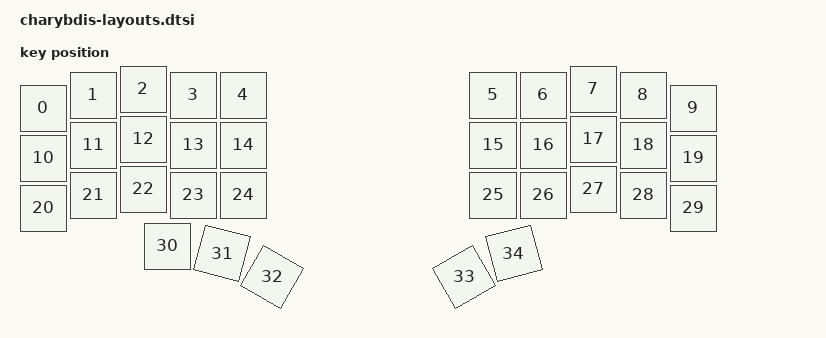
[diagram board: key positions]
#include <physical_layouts.dtsi>

/ {
    charybdis_physical_layout: charybdis_physical_layout {
        compatible = "zmk,physical-layout";
        display-name = "Charybdis 3x5";
        status = "okay";
        kscan = <&kscan0>;
        transform = <&five_column_transform>;

        keys
            // Left Half - Main Keys (cols 1-5, pinky col removed)
            //                       w   h    x    y     rot    rx    ry
            = <&key_physical_attrs 100 100    0   38       0     0     0>
            , <&key_physical_attrs 100 100  100   12       0     0     0>
            , <&key_physical_attrs 100 100  200    0       0     0     0>
            , <&key_physical_attrs 100 100  300   12       0     0     0>
            , <&key_physical_attrs 100 100  400   12       0     0     0>
            , <&key_physical_attrs 100 100  900   12       0     0     0>
            , <&key_physical_attrs 100 100 1000   12       0     0     0>
            , <&key_physical_attrs 100 100 1100    0       0     0     0>
            , <&key_physical_attrs 100 100 1200   12       0     0     0>
            , <&key_physical_attrs 100 100 1300   38       0     0     0>
            , <&key_physical_attrs 100 100    0  138       0     0     0>
            , <&key_physical_attrs 100 100  100  112       0     0     0>
            , <&key_physical_attrs 100 100  200  100       0     0     0>
            , <&key_physical_attrs 100 100  300  112       0     0     0>
            , <&key_physical_attrs 100 100  400  112       0     0     0>

            // Right Half - Main Keys (cols 6-10, pinky col removed)
            //                       w   h    x    y     rot    rx    ry
            , <&key_physical_attrs 100 100  900  112       0     0     0>
            , <&key_physical_attrs 100 100 1000  112       0     0     0>
            , <&key_physical_attrs 100 100 1100  100       0     0     0>
            , <&key_physical_attrs 100 100 1200  112       0     0     0>
            , <&key_physical_attrs 100 100 1300  138       0     0     0>
            , <&key_physical_attrs 100 100    0  238       0     0     0>
            , <&key_physical_attrs 100 100  100  212       0     0     0>
            , <&key_physical_attrs 100 100  200  200       0     0     0>
            , <&key_physical_attrs 100 100  300  212       0     0     0>
            , <&key_physical_attrs 100 100  400  212       0     0     0>
            , <&key_physical_attrs 100 100  900  212       0     0     0>
            , <&key_physical_attrs 100 100 1000  212       0     0     0>
            , <&key_physical_attrs 100 100 1100  200       0     0     0>
            , <&key_physical_attrs 100 100 1200  212       0     0     0>
            , <&key_physical_attrs 100 100 1300  238       0     0     0>

            // Thumb Clusters
            //                       w   h    x    y     rot    rx    ry
            , <&key_physical_attrs 100 100  248  314       0     0     0>
            , <&key_physical_attrs 100 100  248  314    1500   298   790>
            , <&key_physical_attrs 100 100  248  320    3000   298   790>
            , <&key_physical_attrs 100 100 1052  320 (-3000)  1102   790>
            , <&key_physical_attrs 100 100 1052  314 (-1500)  1102   790>
            ;
    };
};
